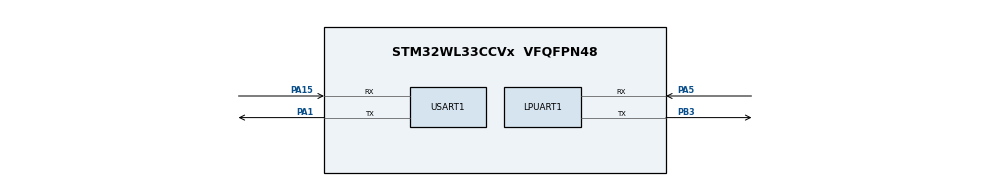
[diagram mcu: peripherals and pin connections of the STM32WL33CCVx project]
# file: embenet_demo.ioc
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MRSUBG.FCSType=FCS_32BIT
MRSUBG.FrameLength=MSG_SIZE + FCS_SIZE
MRSUBG.PADrvMode=PA_DRV_TX_HP
MRSUBG.PacketFormat=802154Packet
MRSUBG.PreambleLength=0x08
MRSUBG.Whitening=DISABLE
MRSUBG.lBandwidth=150000
MRSUBG.lDatarate=100000
MRSUBG.lFreqDev=25000
MRSUBG.lFrequencyBase=865100000
MRSUBG.outputPower=14
MRSUBG.xModulationSelect=MOD_2GFSK05
Mcu.Family=STM32WL3
Mcu.Name=STM32WL33CCVx
Mcu.Package=VFQFPN48
Mcu.UserConstants=MSG_SIZE,16;FCS_SIZE,4
NUCLEO-WL33CC1.BUTTON=2
NUCLEO-WL33CC1.BUTTON2=2
NUCLEO-WL33CC1.BUTTON3=2
NUCLEO-WL33CC1.LD1=true
NUCLEO-WL33CC1.LD2=true
NUCLEO-WL33CC1.LD3=true
NUCLEO-WL33CC1.VCP=false
OSCIN.Mode=HSE-External-Oscillator
OSCIN.Signal=RCC_OSC_IN
OSCOUT.Mode=HSE-External-Oscillator
OSCOUT.Signal=RCC_OSC_OUT
PA1.Mode=Asynchronous
PA1.Signal=USART1_TX
PA15.Mode=Asynchronous
PA15.Signal=USART1_RX
PA5.Mode=Asynchronous
PA5.Signal=LPUART1_RX
PB12.Mode=LSE-External-Oscillator
PB12.Signal=RCC_OSC32_OUT
PB13.Mode=LSE-External-Oscillator
PB13.Signal=RCC_OSC32_IN
PB3.Mode=Asynchronous
PB3.Signal=LPUART1_TX
ProjectManager.HeapSize=0x000
ProjectManager.StackSize=0xC00
ProjectManager.TargetToolchain=STM32CubeIDE
RCC.ClkSMPSDIVSource=RCC_SMPSCLK_DIV4
RCC.HSE_VALUE=48000000
RCC.HSI_VALUE=64000000
RCC.RC64MPLLSource=RCC_LSCOSOURCE_PLL64
RCC.RTCClockSelection=RCC_RTC_WDG_SUBG_LPAWUR_LCD_LCSC_CLKSOURCE_LSE
USART1.VirtualMode-Asynchronous=VM_ASYNC
VP_AES_VS_AES.Mode=AES_Activate
VP_MRSUBG_VS_RF.Mode=MRSUBG_Activate
VP_NUCLEO-WL33CC1_VS_BSP_COMMON.Mode=COMMON
VP_PWR_VS_SECSignals.Mode=Security/Privilege
VP_RNG_VS_RNG.Mode=RNG_Activate
VP_TIM2_VS_ClockSourceINT.Mode=Internal
board=NUCLEO-WL33CC1

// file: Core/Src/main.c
/* USER CODE BEGIN Header */
/**
 ******************************************************************************
 * @file           : main.c
 * @brief          : Main program body
 ******************************************************************************
 * @attention
 *
 * Copyright (c) 2024 STMicroelectronics.
 * All rights reserved.
 *
 * This software is licensed under terms that can be found in the LICENSE file
 * in the root directory of this software component.
 * If no LICENSE file comes with this software, it is provided AS-IS.
 *
 ******************************************************************************
 */
/* USER CODE END Header */
#include "main.h"

/* USER CODE BEGIN Includes */
// Standard C library
#include <stddef.h>
#include <stdint.h>
#include <string.h>
#include <stdio.h>
#include <inttypes.h>
// embeNET includes
#include <embetech/logger.h>
#include <embenet/node.h>
#include <embenet/enms_node.h>
// demo services
#include "udp_service.h"
#include "mqttsn_client_service.h"
#include "synchronous_led_task.h"

/* USER CODE END Includes */

CRYP_HandleTypeDef hcryp;
__ALIGN_BEGIN static const uint32_t pKeyAES[4] __ALIGN_END = {
                            0x00000000,0x00000000,0x00000000,0x00000000};

UART_HandleTypeDef hlpuart1;

SMRSubGConfig MRSUBG_RadioInitStruct;
MRSubG_802_15_4_PcktFields MRSUBG_PacketSettingsStruct;

RNG_HandleTypeDef hrng;

/* USER CODE BEGIN PV */

/// Descriptor of the ENMS service (network maintenance and visualization)
EnmsNode enmsNode;

/* USER CODE END PV */

void SystemClock_Config(void);
void PeriphCommonClock_Config(void);
static void MX_GPIO_Init(void);
static void MX_MRSUBG_Init(void);
static void MX_USART1_UART_Init(void);
static void MX_AES_Init(void);
static void MX_RNG_Init(void);
static void MX_TIM2_Init(void);
static void MX_LPUART1_UART_Init(void);
/* USER CODE BEGIN PFP */
#if defined(__ICCARM__)
__ATTRIBUTES size_t __write(int, const unsigned char *, size_t);
#endif /* __ICCARM__ */

#if defined(__ICCARM__)
/* New definition from EWARM V9, compatible with EWARM8 */
int iar_fputc(int ch);
#define PUTCHAR_PROTOTYPE int iar_fputc(int ch)
#elif defined ( __CC_ARM ) || defined(__ARMCC_VERSION)
/* ARM Compiler 5/6*/
#define PUTCHAR_PROTOTYPE int fputc(int ch, FILE *f)
#elif defined(__GNUC__)
#define PUTCHAR_PROTOTYPE int __io_putchar(int ch)
#endif /* __ICCARM__ */
/* USER CODE END PFP */

/* USER CODE BEGIN 0 */

/**
 * User-defined callback that will be called, when the node joins the network.
 * @param[in] panId Identifier of the Network that node joined
 * @param[in] quickJoinCredentials pointer to the Quick Join Credentials that MAY be stored by the user to facilitate rejoining process.
 */
static void onJoined(EMBENET_PANID panId, const EMBENET_NODE_QuickJoinCredentials *quickJoinCredentials) {
    printf("Joined network with PANID: x%04" PRIx16 "\n\r", panId);

    // Start ENMS Service that provides network-wide telemetry information
    EnmsResult enmsStartStatus = ENMS_NODE_Start(&enmsNode);
    if (ENMS_RESULT_OK == enmsStartStatus) {
        printf("ENMS service started\n\r");
    } else {
        printf("ENMS service failed to start with status: %d\n\r", (int)enmsStartStatus);
    }

	// Start LED blinking task
    synchronous_led_task_start();

#if 1 != IS_ROOT
    // Start exemplary, user-defined custom service
    udp_service_start();
    // Start MQTT-SN demo service
    mqttsn_client_service_start();
#endif
}

/**
 * @brief User-defined callback, that will be called after the node leaves the network
 */
static void onLeft(void) {
    printf("Node has left the network\n\r");
    // Stop ENMS service
    EnmsResult enmsStopStatus = ENMS_NODE_Stop(&enmsNode);
    if (ENMS_RESULT_OK == enmsStopStatus) {
        printf("ENMS service stopped\n\r");
    } else {
        printf("ENMS service failed to stop with status: %d\n\r", (int)enmsStopStatus);
    }
	// Stop LED blinking task
    synchronous_led_task_stop();

#if 1 != IS_ROOT
    // Stop exemplary, user-defined custom service
    udp_service_stop();
    // Stop MQTT-SN demo service
    mqttsn_client_service_stop();
#endif

}

/**
 * @brief User-defined callback, that will be called when node tries to join the network
 *
 * NOTE: This callback is included in this demo only for debugging purposes
 */
static void onJoinAttempt(EMBENET_PANID panId, uint8_t const *panData, size_t panDataSize) {
    char pan_string[17];
    size_t pan_string_size = (panDataSize >= sizeof(pan_string)) ? sizeof(pan_string) - 1 : panDataSize;
    memcpy(pan_string, panData, pan_string_size);
    pan_string[pan_string_size] = '\0';

    printf("Node is attempting to join the network with PANID x%04" PRIx16 "\n\r", panId);
    printf("Network-wide data (%uB): %s\n\r", (unsigned)panDataSize, pan_string);
}

/**
 * @brief User-defined callback, that will be called when the node receives UDP datagram on closed port
 *
 * NOTE: This callback is included for purely debugging purposes. It should be Never used as a method of reliable data transfer
 */
static void dataOnUregisteredPort(uint16_t port) {
    printf("Got UDP datagram on unregistered port no: %" PRIu16 "\n\r", port);
}

/**
 * @brief User-defined callback, that will be called when provided quick join credentials become obsolete.
 *
 * If the quick join feature is used, user should delete the stored data and store new data, when onJoined callback will be called again.
 * This demo application does not use the quick join feature.
 */
static void onQuickJoinCredentialsObsolete(void) {
    printf("Quick join credentials became obsolete\n\r");
}

/**
 * @brief User-defined log output function used for logging diagnostic logs from embeNET
 */
static void loggerOutput(char c, void* context) {
#if 1 != IS_ROOT
	while (!LL_USART_IsActiveFlag_TXE_TXFNF(USART1)) {
	    ;
	}
    LL_USART_TransmitData8(USART1, c);
#endif
}

static LOGGER_Time loggerTimeSource() {
  return (LOGGER_Time) HAL_GetTick();
}

/* USER CODE END 0 */

int main(void)
{

    /* MCU Configuration--------------------------------------------------------*/

    /* Reset of all peripherals, Initializes the Flash interface and the Systick. */
    HAL_Init();

    /* Configure the system clock */
    SystemClock_Config();

    /* Configure the peripherals common clocks */
    PeriphCommonClock_Config();

    /* Initialize all configured peripherals */
    MX_GPIO_Init();
    MX_MRSUBG_Init();
    MX_USART1_UART_Init();
    MX_AES_Init();
    MX_RNG_Init();
    MX_TIM2_Init();
    MX_LPUART1_UART_Init();
    /* USER CODE BEGIN 2 */
    BSP_LED_Init(LED_RED);
    BSP_LED_Init(LED_GREEN);
    BSP_LED_Init(LED_BLUE);
    BSP_LED_On(LED_RED);

    LOGGER_SetOutput(loggerOutput, NULL);
    LOGGER_SetRuntimeLevel(LOGGER_LEVEL_TRACE);
    LOGGER_SetTimeSource(&loggerTimeSource);
    // You can change this to LOGGER_Enable to enable more logs from embeNET:
    LOGGER_Disable();

    printf("\n\r"
            "+---------------------------------------------+\n\r"
            "   embeNET Node demo for nucleo-wl33c1 board   \n\r"
            "+---------------------------------------------+\n\r");

    // Initialize structure with user-defined event handlers
    EMBENET_NODE_EventHandlers handlers = {
        .onJoined = onJoined,
        .onLeft = onLeft,
        .onJoinAttempt = onJoinAttempt,
        .onQuickJoinCredentialsObsolete = onQuickJoinCredentialsObsolete,
        .onDataOnUnregisteredPort = dataOnUregisteredPort
    };

    // Initialize network stack
    if (EMBENET_RESULT_OK == EMBENET_NODE_Init(&handlers)) {
        EMBENET_Version ver = EMBENET_NODE_GetVersion();
    	printf("embeNET Node v%d.%d.%d initialized\n\r", ver.hi, ver.lo, ver.rev);
    } else {
        printf("Failed to initialize embeNET Node\n\r");
    }

    // Get hardware ID using 96-bit CPU uid
    uint8_t hardwareId[16] = { 0x00 };
    memcpy(hardwareId, (void const*) UID64_BASE, 12);
    // Initialize ENMS service on its default port. You may specify custom Hardware Identifier
    if (ENMS_RESULT_OK == ENMS_NODE_Init(&enmsNode, ENMS_NODE_GetDefaultPort(), hardwareId, ENMS_NODE_GetSmallScalePolicy())) {
        printf("ENMS service initialized\n\r");
    } else {
        printf("Failed to initialize ENMS service!\n\r");
    }
    // Initialize LED blinking task
    synchronous_led_task_init();

#if 1 == IS_ROOT
    printf("Acting as root with UID: x%x%08x\n\r", (unsigned)(EMBENET_NODE_GetUID()>>32), (unsigned)(EMBENET_NODE_GetUID()));
    // When the application is built for Root node, start as root instead of joining the network
    if (EMBENET_RESULT_OK == EMBENET_NODE_RootStart(NULL, 0)) {
    	printf("Root started successfully\n\r");
    } else {
    	printf("Failed to start as root!\n\r");
    }
#else
    printf("Acting as node with UID: x%x%08x\n\r", (unsigned)(EMBENET_NODE_GetUID()>>32), (unsigned)(EMBENET_NODE_GetUID()));

    // Initialize exemplary, user-defined custom UDP service
    udp_service_init();
    // Initialize MQTT-SN service
    mqttsn_client_service_init();

    // Additionally tell the ENMS what services are running
    (void) ENMS_NODE_RegisterService(&enmsNode, "udp-service", 1);
    (void) ENMS_NODE_RegisterService(&enmsNode, "mqttsn-service", 1);

    // embeNET network configuration:
    // K1 key, used to authenticate the network node should join and
    // PSK - Node's secret key.
    // Note that the psk value should be preferably stored in secure memory, or be preloaded using custom bootloader.
    const EMBENET_NODE_JoinConfig config = {
        .k1.val = { 0xc0, 0x8b, 0x76, 0x62, 0x77, 0x09, 0x9e, 0x7d, 0x7e, 0x9c, 0x02, 0x22, 0xf1, 0x68, 0xcc, 0x9e },
        .psk.val = {0x46, 0xd7, 0xdc, 0x94, 0xe8, 0xee, 0x74, 0x96, 0xce, 0xaf, 0x54, 0xa3, 0xab, 0x64, 0xcb, 0xeb },
    };

    printf("Trying to join a network...\n\r");
    // Make the node join the network
    EMBENET_NODE_Join(&config);
#endif
  /* USER CODE END 2 */

  /* Initialize leds */
  BSP_LED_Init(LED_BLUE);
  BSP_LED_Init(LED_GREEN);
  BSP_LED_Init(LED_RED);

  /* Initialize User push-button without interrupt mode. */
  BSP_PB_Init(B1, BUTTON_MODE_GPIO);
  BSP_PB_Init(B2, BUTTON_MODE_GPIO);
  BSP_PB_Init(B3, BUTTON_MODE_GPIO);

  /* Infinite loop */
  /* USER CODE BEGIN WHILE */
    while (1) {
        // Periodically call embeNET Node process function
        EMBENET_NODE_Proc();
#if 1 != IS_ROOT
        // When acting as Node, run the MQTT-SN service process
        mqttsn_client_service_proc();
#endif
    }
    /* USER CODE END WHILE */

}

void SystemClock_Config(void)
{
  RCC_OscInitTypeDef RCC_OscInitStruct = {0};
  RCC_ClkInitTypeDef RCC_ClkInitStruct = {0};

  /** Initializes the RCC Oscillators according to the specified parameters
  * in the RCC_OscInitTypeDef structure.
  */
  RCC_OscInitStruct.OscillatorType = RCC_OSCILLATORTYPE_HSE|RCC_OSCILLATORTYPE_LSE;
  RCC_OscInitStruct.HSEState = RCC_HSE_ON;
  RCC_OscInitStruct.LSEState = RCC_LSE_ON;
  if (HAL_RCC_OscConfig(&RCC_OscInitStruct) != HAL_OK)
  {
    Error_Handler();
  }

  /** Configure the SYSCLKSource and SYSCLKDivider
  */
  RCC_ClkInitStruct.SYSCLKSource = RCC_SYSCLKSOURCE_RC64MPLL;
  RCC_ClkInitStruct.SYSCLKDivider = RCC_RC64MPLL_DIV1;

  if (HAL_RCC_ClockConfig(&RCC_ClkInitStruct, FLASH_WAIT_STATES_1) != HAL_OK)
  {
    Error_Handler();
  }
}

void PeriphCommonClock_Config(void)
{
  RCC_PeriphCLKInitTypeDef PeriphClkInitStruct = {0};

  /** Initializes the peripherals clock
  */
  PeriphClkInitStruct.PeriphClockSelection = RCC_PERIPHCLK_SMPS;
  PeriphClkInitStruct.SmpsDivSelection = RCC_SMPSCLK_DIV4;
  PeriphClkInitStruct.KRMRateMultiplier = 4;

  if (HAL_RCCEx_PeriphCLKConfig(&PeriphClkInitStruct) != HAL_OK)
  {
    Error_Handler();
  }
}

static void MX_AES_Init(void)
{

  hcryp.Instance = AES;
  hcryp.Init.DataType = CRYP_DATATYPE_32B;
  hcryp.Init.KeySize = CRYP_KEYSIZE_128B;
  hcryp.Init.pKey = (uint32_t *)pKeyAES;
  hcryp.Init.Algorithm = CRYP_AES_ECB;
  hcryp.Init.DataWidthUnit = CRYP_DATAWIDTHUNIT_WORD;
  hcryp.Init.HeaderWidthUnit = CRYP_HEADERWIDTHUNIT_WORD;
  hcryp.Init.KeyIVConfigSkip = CRYP_KEYIVCONFIG_ALWAYS;
  if (HAL_CRYP_Init(&hcryp) != HAL_OK)
  {
    Error_Handler();
  }

}

static void MX_LPUART1_UART_Init(void)
{

  hlpuart1.Instance = LPUART1;
  hlpuart1.Init.BaudRate = 209700;
  hlpuart1.Init.WordLength = UART_WORDLENGTH_8B;
  hlpuart1.Init.StopBits = UART_STOPBITS_1;
  hlpuart1.Init.Parity = UART_PARITY_NONE;
  hlpuart1.Init.Mode = UART_MODE_TX_RX;
  hlpuart1.Init.HwFlowCtl = UART_HWCONTROL_NONE;
  hlpuart1.Init.OneBitSampling = UART_ONE_BIT_SAMPLE_DISABLE;
  hlpuart1.Init.ClockPrescaler = UART_PRESCALER_DIV1;
  hlpuart1.AdvancedInit.AdvFeatureInit = UART_ADVFEATURE_NO_INIT;
  hlpuart1.FifoMode = UART_FIFOMODE_DISABLE;
  if (HAL_UART_Init(&hlpuart1) != HAL_OK)
  {
    Error_Handler();
  }
  if (HAL_UARTEx_SetTxFifoThreshold(&hlpuart1, UART_TXFIFO_THRESHOLD_1_8) != HAL_OK)
  {
    Error_Handler();
  }
  if (HAL_UARTEx_SetRxFifoThreshold(&hlpuart1, UART_RXFIFO_THRESHOLD_1_8) != HAL_OK)
  {
    Error_Handler();
  }
  if (HAL_UARTEx_DisableFifoMode(&hlpuart1) != HAL_OK)
  {
    Error_Handler();
  }

}

static void MX_USART1_UART_Init(void)
{

  LL_USART_InitTypeDef USART_InitStruct = {0};

  LL_GPIO_InitTypeDef GPIO_InitStruct = {0};

  /* Peripheral clock enable */
  LL_APB1_GRP1_EnableClock(LL_APB1_GRP1_PERIPH_USART1);

  LL_AHB1_GRP1_EnableClock(LL_AHB1_GRP1_PERIPH_GPIOA);
  /**USART1 GPIO Configuration
  PA1   ------> USART1_TX
  PA15   ------> USART1_RX
  */
  GPIO_InitStruct.Pin = LL_GPIO_PIN_1|LL_GPIO_PIN_15;
  GPIO_InitStruct.Mode = LL_GPIO_MODE_ALTERNATE;
  GPIO_InitStruct.Speed = LL_GPIO_SPEED_FREQ_LOW;
  GPIO_InitStruct.OutputType = LL_GPIO_OUTPUT_PUSHPULL;
  GPIO_InitStruct.Pull = LL_GPIO_PULL_NO;
  GPIO_InitStruct.Alternate = LL_GPIO_AF_1;
  LL_GPIO_Init(GPIOA, &GPIO_InitStruct);

  USART_InitStruct.PrescalerValue = LL_USART_PRESCALER_DIV1;
  USART_InitStruct.BaudRate = 115200;
  USART_InitStruct.DataWidth = LL_USART_DATAWIDTH_8B;
  USART_InitStruct.StopBits = LL_USART_STOPBITS_1;
  USART_InitStruct.Parity = LL_USART_PARITY_NONE;
  USART_InitStruct.TransferDirection = LL_USART_DIRECTION_TX_RX;
  USART_InitStruct.HardwareFlowControl = LL_USART_HWCONTROL_NONE;
  USART_InitStruct.OverSampling = LL_USART_OVERSAMPLING_16;
  LL_USART_Init(USART1, &USART_InitStruct);
  LL_USART_SetTXFIFOThreshold(USART1, LL_USART_FIFOTHRESHOLD_1_8);
  LL_USART_SetRXFIFOThreshold(USART1, LL_USART_FIFOTHRESHOLD_1_8);
  LL_USART_DisableFIFO(USART1);
  LL_USART_ConfigAsyncMode(USART1);

  LL_USART_Enable(USART1);

  /* Polling USART1 initialisation */
  while((!(LL_USART_IsActiveFlag_TEACK(USART1))) || (!(LL_USART_IsActiveFlag_REACK(USART1))))
  {
  }

}

static void MX_MRSUBG_Init(void)
{

  /** Configures the radio parameters
  */
  MRSUBG_RadioInitStruct.lFrequencyBase = 865100000;
  MRSUBG_RadioInitStruct.xModulationSelect = MOD_2GFSK05;
  MRSUBG_RadioInitStruct.lDatarate = 100000;
  MRSUBG_RadioInitStruct.lFreqDev = 25000;
  MRSUBG_RadioInitStruct.lBandwidth = 150000;
  MRSUBG_RadioInitStruct.dsssExp = 0;
  MRSUBG_RadioInitStruct.outputPower = 14;
  MRSUBG_RadioInitStruct.PADrvMode = PA_DRV_TX_HP;
  HAL_MRSubG_Init(&MRSUBG_RadioInitStruct);

  /** Configures the packet parameters
  */
  MRSUBG_PacketSettingsStruct.Modulation = MOD_2FSK;
  MRSUBG_PacketSettingsStruct.PreambleLength = 0x08;
  MRSUBG_PacketSettingsStruct.FCSType = FCS_32BIT;
  MRSUBG_PacketSettingsStruct.Whitening = DISABLE;
  MRSUBG_PacketSettingsStruct.FecType = FEC_15_4_G_NONE;
  MRSUBG_PacketSettingsStruct.FrameLength = MSG_SIZE + FCS_SIZE;
  HAL_MRSubG_802_15_4_PacketInit(&MRSUBG_PacketSettingsStruct);

}

static void MX_RNG_Init(void)
{

  hrng.Instance = RNG;
  hrng.Init.ClockErrorDetection = RNG_CED_ENABLE;
  if (HAL_RNG_Init(&hrng) != HAL_OK)
  {
    Error_Handler();
  }

}

static void MX_TIM2_Init(void)
{

  LL_TIM_InitTypeDef TIM_InitStruct = {0};

  /* Peripheral clock enable */
  LL_APB0_GRP1_EnableClock(LL_APB0_GRP1_PERIPH_TIM2);

  TIM_InitStruct.Prescaler = 0;
  TIM_InitStruct.CounterMode = LL_TIM_COUNTERMODE_UP;
  TIM_InitStruct.Autoreload = 4294967295;
  TIM_InitStruct.ClockDivision = LL_TIM_CLOCKDIVISION_DIV1;
  LL_TIM_Init(TIM2, &TIM_InitStruct);
  LL_TIM_DisableARRPreload(TIM2);
  LL_TIM_SetClockSource(TIM2, LL_TIM_CLOCKSOURCE_INTERNAL);
  LL_TIM_SetTriggerOutput(TIM2, LL_TIM_TRGO_RESET);
  LL_TIM_DisableMasterSlaveMode(TIM2);

}

static void MX_GPIO_Init(void)
{

  /* GPIO Ports Clock Enable */
  __HAL_RCC_GPIOB_CLK_ENABLE();
  __HAL_RCC_GPIOA_CLK_ENABLE();

}

/* USER CODE BEGIN 4 */

/**
  * @brief  Retargets the C library printf function to the USART.
  * @param  None
  * @retval None
  */
PUTCHAR_PROTOTYPE
{
    /* Place your implementation of fputc here */
    /* e.g. write a character to the USART1 and Loop until the end of transmission */
#if 1 != IS_ROOT
	while (!LL_USART_IsActiveFlag_TXE_TXFNF(USART1)) {
	    ;
	}
    LL_USART_TransmitData8(USART1, ch);
#endif

  return ch;
}

#if defined(__ICCARM__)
size_t __write(int file, unsigned char const *ptr, size_t len)
{
  size_t idx;
  unsigned char const *pdata = ptr;

  for (idx = 0; idx < len; idx++)
  {
    iar_fputc((int)*pdata);
    pdata++;
  }
  return len;
}
#endif /* __ICCARM__ */
/**
 * This hander is called by the embeNET stack when a critical error aborts operation.
 */
__attribute__((noreturn)) void EXPECT_OnAbortHandler(char const *why, char const *file, int line) {
    printf("Program aborted: %s %s:%i\n\r", why, file, line);
    while(1) {
        ;
    }
    __builtin_unreachable();
}
/* USER CODE END 4 */

void Error_Handler(void)
{
  /* USER CODE BEGIN Error_Handler_Debug */
    /* User can add his own implementation to report the HAL error return state */
    __disable_irq();
    while (1) {
        NVIC_SystemReset();
    }
  /* USER CODE END Error_Handler_Debug */
}
